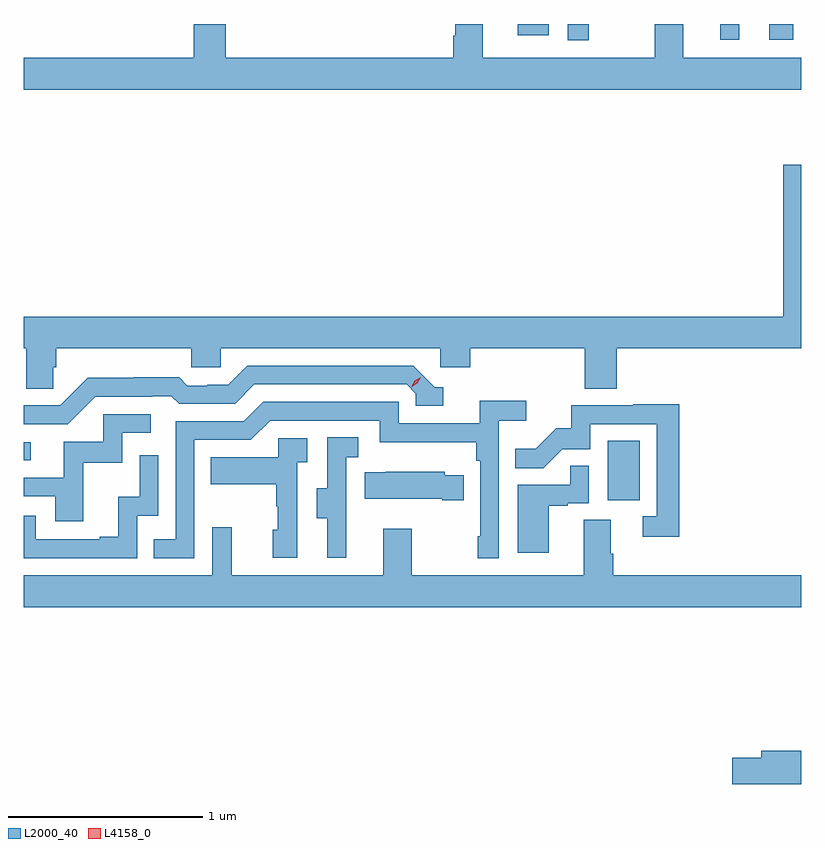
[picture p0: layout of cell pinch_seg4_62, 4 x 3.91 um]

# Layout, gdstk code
import gdstk
lib = gdstk.Library(unit=1e-6, precision=1e-09)
def R(c, l, rs):  # rectangles x0, y0, x1, y1
    for r in rs: c.add(gdstk.rectangle(r[:2], r[2:], *l))
def P(c, l, *ps):  # polygons
    for p in ps: c.add(gdstk.Polygon(p, *l))
L2000_40 = (2000, 40)
L4158_0 = (4158, 0)

pinch_seg4_62 = lib.new_cell('pinch_seg4_62')
R(pinch_seg4_62, L2000_40, [(1035.158,828.006,1035.322,828.313), (1032.154,828.213,1032.19,828.306), (1034.952,830.373,1035.061,830.457), (1035.737,830.376,1035.835,830.457), (1035.99,830.376,1036.114,830.457), (1034.696,830.4,1034.854,830.457)])
P(pinch_seg4_62, L2000_40, [(1036.154,830.284),(1035.547,830.284),(1035.547,830.457),(1035.4,830.457),(1035.4,830.284),(1034.515,830.284),(1034.515,830.457),(1034.375,830.457),(1034.375,830.396),(1034.363,830.396),(1034.363,830.284),(1033.192,830.284),(1033.192,830.457),(1033.028,830.457),(1033.028,830.284),(1032.154,830.284),(1032.154,830.12),(1036.154,830.12)],
  [(1032.305,828.69),(1032.32,828.69),(1032.32,828.788),(1033.017,828.788),(1033.017,828.69),(1033.167,828.69),(1033.167,828.788),(1034.298,828.788),(1034.298,828.69),(1034.45,828.69),(1034.45,828.788),(1035.041,828.788),(1035.041,828.58),(1035.206,828.58),(1035.206,828.788),(1036.154,828.788),(1036.154,829.732),(1036.061,829.732),(1036.061,828.952),(1032.154,828.952),(1032.154,828.788),(1032.168,828.788),(1032.168,828.58),(1032.305,828.58)],
  [(1032.522,828.54),(1032.815,828.54),(1032.815,828.543),(1032.914,828.543),(1032.953,828.504),(1033.242,828.504),(1033.341,828.603),(1034.124,828.603),(1034.172,828.555),(1034.172,828.492),(1034.311,828.492),(1034.311,828.588),(1034.268,828.588),(1034.157,828.699),(1033.304,828.699),(1033.205,828.6),(1033.098,828.6),(1033.098,828.597),(1032.995,828.597),(1032.953,828.64),(1032.72,828.64),(1032.72,828.637),(1032.484,828.637),(1032.342,828.495),(1032.154,828.495),(1032.154,828.399),(1032.381,828.399)],
  [(1033.032,828.318),(1033.323,828.318),(1033.422,828.417),(1033.986,828.417),(1033.986,828.305),(1034.482,828.305),(1034.482,828.209),(1034.502,828.209),(1034.502,827.821),(1034.49,827.821),(1034.49,827.709),(1034.598,827.709),(1034.598,828.416),(1034.74,828.416),(1034.74,828.518),(1034.501,828.518),(1034.501,828.402),(1034.082,828.402),(1034.082,828.513),(1033.385,828.513),(1033.286,828.414),(1032.936,828.414),(1032.936,827.805),(1032.823,827.805),(1032.823,827.709),(1033.032,827.709)],
  [(1035.527,828.5),(1035.289,828.5),(1035.289,828.495),(1034.971,828.495),(1034.971,828.378),(1034.894,828.378),(1034.787,828.271),(1034.683,828.271),(1034.683,828.172),(1034.827,828.172),(1034.925,828.27),(1035.069,828.27),(1035.069,828.399),(1035.411,828.399),(1035.411,827.925),(1035.339,827.925),(1035.339,827.82),(1035.527,827.82)],
  [(1032.461,828.201),(1032.66,828.201),(1032.66,828.354),(1032.808,828.354),(1032.808,828.45),(1032.564,828.45),(1032.564,828.309),(1032.359,828.309),(1032.359,828.123),(1032.154,828.123),(1032.154,828.027),(1032.317,828.027),(1032.317,827.898),(1032.461,827.898)],
  [(1033.814,827.925),(1033.812,827.925),(1033.812,828.229),(1033.876,828.229),(1033.876,828.332),(1033.716,828.332),(1033.716,828.069),(1033.661,828.069),(1033.661,827.914),(1033.715,827.914),(1033.715,827.712),(1033.814,827.712)],
  [(1033.56,828.203),(1033.612,828.203),(1033.612,828.327),(1033.464,828.327),(1033.464,828.229),(1033.117,828.229),(1033.117,828.089),(1033.452,828.089),(1033.452,827.975),(1033.462,827.975),(1033.462,827.856),(1033.436,827.856),(1033.436,827.712),(1033.56,827.712)],
  [(1032.738,827.928),(1032.846,827.928),(1032.846,828.238),(1032.75,828.238),(1032.75,828.026),(1032.641,828.026),(1032.641,827.818),(1032.545,827.818),(1032.545,827.805),(1032.216,827.805),(1032.216,827.928),(1032.154,827.928),(1032.154,827.709),(1032.738,827.709)],
  [(1034.854,827.979),(1034.954,827.979),(1034.954,827.991),(1035.06,827.991),(1035.06,828.185),(1034.965,828.185),(1034.965,828.087),(1034.696,828.087),(1034.696,827.736),(1034.854,827.736)],
  [(1034.417,828.136),(1034.319,828.136),(1034.319,828.154),(1034.017,828.154),(1034.017,828.151),(1033.909,828.151),(1033.909,828.014),(1034.306,828.014),(1034.306,828.007),(1034.417,828.007)],
  [(1036.154,827.62),(1035.188,827.62),(1035.188,827.732),(1035.175,827.732),(1035.175,827.906),(1035.035,827.906),(1035.035,827.62),(1034.151,827.62),(1034.151,827.86),(1034.003,827.86),(1034.003,827.62),(1033.223,827.62),(1033.223,827.869),(1033.125,827.869),(1033.125,827.62),(1032.154,827.62),(1032.154,827.456),(1036.154,827.456)],
  [(1036.154,826.718),(1035.947,826.718),(1035.947,826.682),(1035.798,826.682),(1035.798,826.547),(1036.154,826.547)])
P(pinch_seg4_62, L4158_0, [(1034.148,828.589),(1034.148,828.589),(1034.165,828.621),(1034.196,828.64),(1034.196,828.64),(1034.196,828.64),(1034.179,828.608),(1034.148,828.589)])

lib.write_gds('pinch_seg4_62.gds')
